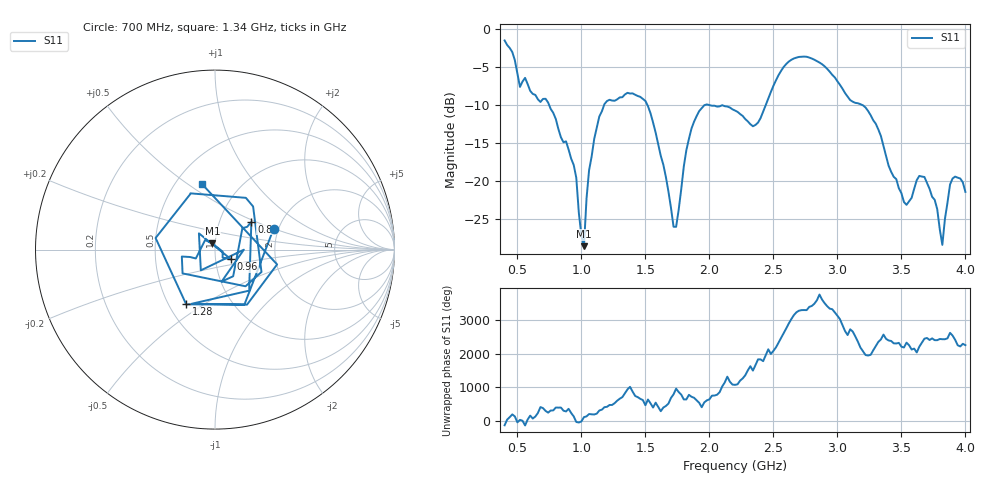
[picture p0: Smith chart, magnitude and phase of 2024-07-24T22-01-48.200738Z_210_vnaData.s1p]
!Created with skrf (http://scikit-rf.org).
# Hz S RI R 50.0
!freq ReS11 ImS11
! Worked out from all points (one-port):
!   181 points, 400 MHz to 4 GHz, reference 50 ohm
!   lowest |S11| = -28.6 dB at 1.02 GHz (marker M1), VSWR 1.08, Z = 48.4 + j3.32 ohm
!   |S11| at or under -10 dB: 1.516 GHz to 1.966 GHz (450.8 MHz wide, 25.9 % of centre); 1.996 GHz to 2.44 GHz (444 MHz wide, 20 % of centre); 3.194 GHz to end of sweep (the widest 3 of 4)
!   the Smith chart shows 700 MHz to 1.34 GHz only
!   S11 on the Smith chart (normalised r, x): 700 MHz: 1.88, +0.50; 800 MHz: 1.42, +0.47; 960 MHz: 1.19, -0.13; 1.28 GHz: 0.61, -0.42; 1.34 GHz: 0.67, +0.57
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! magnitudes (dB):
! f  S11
! 400 MHz  -1.5
! 520 MHz  -7.6
! 700 MHz  -9.2
! 800 MHz  -11.8
! 860 MHz  -14.9
! 960 MHz  -19.6
! 1.02 GHz  -28.6
! 1.06 GHz  -18.6
! 1.12 GHz  -13.0
! 1.28 GHz  -9.3
! 1.3 GHz  -9.0
! 1.34 GHz  -8.6
! 1.52 GHz  -10.2
! 1.72 GHz  -26.0
! 1.76 GHz  -23.8
! 1.82 GHz  -15.9
! 1.92 GHz  -10.8
! 2.2 GHz  -10.7
! 2.36 GHz  -12.6
! 2.66 GHz  -3.9
! 3.1 GHz  -9.4
! 3.3 GHz  -12.5
! 3.56 GHz  -22.7
! 3.68 GHz  -19.5
! 3.78 GHz  -23.7
! 3.82 GHz  -28.4
! 3.9 GHz  -19.7
! 4 GHz  -21.4
